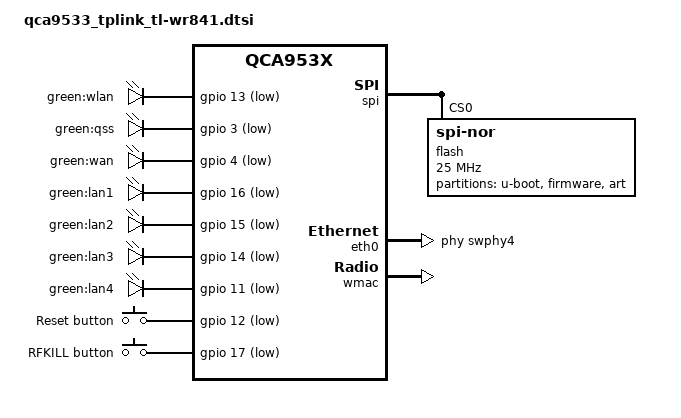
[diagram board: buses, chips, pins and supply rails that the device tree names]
// SPDX-License-Identifier: GPL-2.0-or-later OR MIT

#include "qca953x.dtsi"

#include <dt-bindings/gpio/gpio.h>
#include <dt-bindings/input/input.h>

/ {
	aliases {
		label-mac-device = &wmac;
	};

	leds: leds {
		compatible = "gpio-leds";

		wifi {
			label = "green:wlan";
			gpios = <&gpio 13 GPIO_ACTIVE_LOW>;
			linux,default-trigger = "phy0tpt";
		};

		led_qss: qss {
			label = "green:qss";
			gpios = <&gpio 3 GPIO_ACTIVE_LOW>;
		};

		wan {
			label = "green:wan";
			gpios = <&gpio 4 GPIO_ACTIVE_LOW>;
		};

		lan1 {
			label = "green:lan1";
			gpios = <&gpio 16 GPIO_ACTIVE_LOW>;
		};

		lan2 {
			label = "green:lan2";
			gpios = <&gpio 15 GPIO_ACTIVE_LOW>;
		};

		lan3 {
			label = "green:lan3";
			gpios = <&gpio 14 GPIO_ACTIVE_LOW>;
		};

		lan4 {
			label = "green:lan4";
			gpios = <&gpio 11 GPIO_ACTIVE_LOW>;
		};
	};

	keys {
		compatible = "gpio-keys";

		reset {
			label = "Reset button";
			linux,code = <KEY_RESTART>;
			gpios = <&gpio 12 GPIO_ACTIVE_LOW>;
			debounce-interval = <60>;
		};

		rfkill {
			label = "RFKILL button";
			linux,code = <KEY_RFKILL>;
			gpios = <&gpio 17 GPIO_ACTIVE_LOW>;
			debounce-interval = <60>;
		};
	};
};

&spi {
	status = "okay";

	flash@0 {
		compatible = "jedec,spi-nor";
		reg = <0>;
		spi-max-frequency = <25000000>;

		partitions {
			compatible = "fixed-partitions";
			#address-cells = <1>;
			#size-cells = <1>;

			uboot: partition@0 {
				label = "u-boot";
				reg = <0x000000 0x020000>;
				read-only;
			};

			partition@20000 {
				compatible = "tplink,firmware";
				label = "firmware";
				reg = <0x020000 0x3d0000>;
			};

			art: partition@3f0000 {
				label = "art";
				reg = <0x3f0000 0x010000>;
				read-only;
			};
		};
	};
};

&eth0 {
	status = "okay";

	phy-handle = <&swphy4>;

	nvmem-cells = <&macaddr_uboot_1fc00>;
	nvmem-cell-names = "mac-address";
	mac-address-increment = <1>;
};

&eth1 {
	nvmem-cells = <&macaddr_uboot_1fc00>;
	nvmem-cell-names = "mac-address";
};

&wmac {
	status = "okay";

	mtd-cal-data = <&art 0x1000>;
	nvmem-cells = <&macaddr_uboot_1fc00>;
	nvmem-cell-names = "mac-address";
};

&uboot {
	compatible = "nvmem-cells";
	#address-cells = <1>;
	#size-cells = <1>;

	macaddr_uboot_1fc00: macaddr@1fc00 {
		reg = <0x1fc00 0x6>;
	};
};
